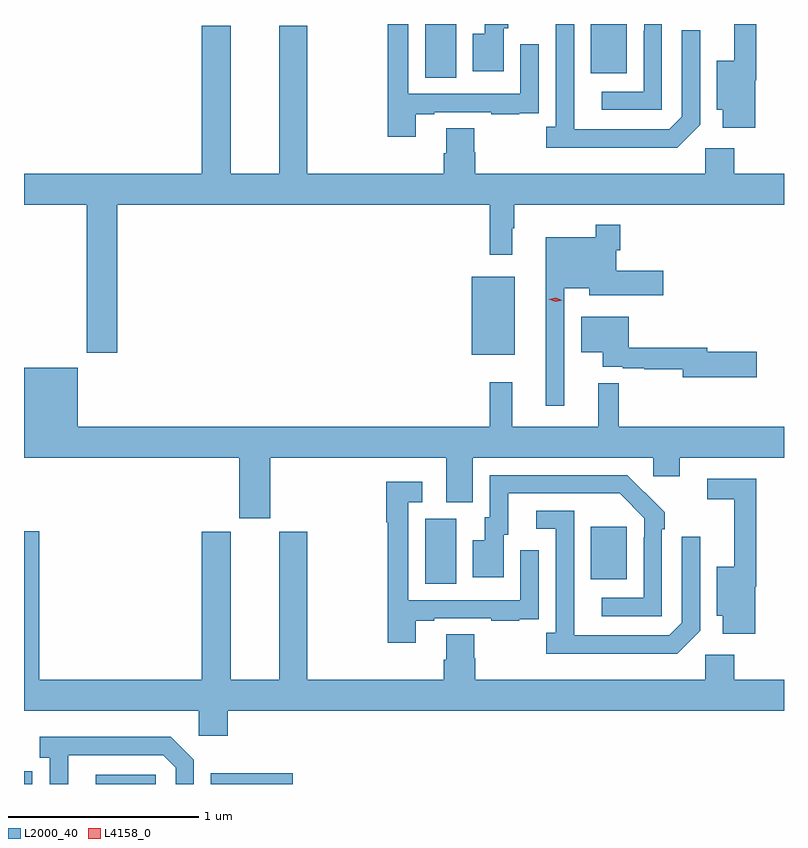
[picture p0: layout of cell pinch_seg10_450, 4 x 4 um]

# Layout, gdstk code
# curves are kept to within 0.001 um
import gdstk
lib = gdstk.Library(unit=1e-6, precision=1e-09)
def R(c, l, rs):  # rectangles x0, y0, x1, y1
    for r in rs: c.add(gdstk.rectangle(r[:2], r[2:], *l))
def P(c, l, *ps):  # polygons
    for p in ps: c.add(gdstk.Polygon(p, *l))
L2000_40 = (2000, 40)
L4158_0 = (4158, 0)

pinch_seg10_450 = lib.new_cell('pinch_seg10_450')
R(pinch_seg10_450, L2000_40, [(315.723,1310.587,315.767,1310.655), (316.101,1310.587,316.416,1310.637), (316.706,1310.587,317.137,1310.643), (317.834,1311.64,317.998,1311.984), (318.707,1311.665,318.895,1311.94), (318.08,1312.847,318.307,1313.257), (317.834,1314.304,317.998,1314.587), (318.707,1314.329,318.895,1314.587)])
P(pinch_seg10_450, L2000_40, [(318.247,1314.564),(318.271,1314.564),(318.271,1314.587),(318.149,1314.587),(318.149,1314.535),(318.086,1314.535),(318.086,1314.339),(318.247,1314.339)],
  [(319.08,1314.587),(318.987,1314.587),(318.987,1314.551),(318.984,1314.551),(318.984,1314.231),(318.765,1314.231),(318.765,1314.135),(319.08,1314.135)],
  [(319.281,1314.057),(319.281,1314.553),(319.185,1314.553),(319.185,1314.099),(319.119,1314.033),(318.619,1314.033),(318.618,1314.587),(318.522,1314.587),(318.522,1314.046),(318.471,1314.046),(318.471,1313.936),(319.16,1313.936)],
  [(317.785,1314.111),(317.881,1314.111),(317.881,1314.123),(318.181,1314.123),(318.181,1314.111),(318.329,1314.111),(318.329,1314.117),(318.431,1314.117),(318.431,1314.226),(318.432,1314.226),(318.432,1314.481),(318.336,1314.481),(318.336,1314.219),(317.745,1314.219),(317.745,1314.587),(317.637,1314.587),(317.637,1313.994),(317.785,1313.994)],
  [(319.571,1314.29),(319.577,1314.29),(319.577,1314.587),(319.46,1314.587),(319.46,1314.394),(319.37,1314.394),(319.37,1314.137),(319.4,1314.137),(319.4,1314.042),(319.571,1314.042)],
  [(316.214,1313.636),(318.175,1313.636),(318.175,1313.373),(318.292,1313.373),(318.292,1313.513),(318.304,1313.513),(318.304,1313.636),(319.723,1313.636),(319.723,1313.8),(319.46,1313.8),(319.46,1313.932),(319.308,1313.932),(319.308,1313.8),(318.098,1313.8),(318.098,1313.913),(318.093,1313.913),(318.093,1314.038),(317.945,1314.038),(317.945,1313.906),(317.933,1313.906),(317.933,1313.8),(317.214,1313.8),(317.214,1314.579),(317.066,1314.579),(317.066,1313.8),(316.81,1313.8),(316.81,1314.579),(316.658,1314.579),(316.658,1313.8),(315.723,1313.8),(315.723,1313.636),(316.054,1313.636),(316.054,1312.857),(316.214,1312.857)],
  [(318.567,1313.195),(318.698,1313.195),(318.698,1313.159),(319.087,1313.159),(319.087,1313.289),(318.841,1313.289),(318.841,1313.397),(318.86,1313.397),(318.86,1313.53),(318.732,1313.53),(318.732,1313.464),(318.47,1313.464),(318.47,1312.578),(318.567,1312.578)],
  [(319.579,1312.862),(319.318,1312.862),(319.318,1312.883),(318.905,1312.883),(318.905,1313.047),(318.656,1313.047),(318.656,1312.859),(318.77,1312.859),(318.77,1312.782),(318.874,1312.782),(318.874,1312.776),(318.988,1312.776),(318.988,1312.77),(319.19,1312.77),(319.19,1312.727),(319.579,1312.727)],
  [(317.02,1312.304),(317.945,1312.304),(317.945,1312.069),(318.085,1312.069),(318.085,1312.304),(319.035,1312.304),(319.035,1312.206),(319.174,1312.206),(319.174,1312.304),(319.723,1312.304),(319.723,1312.468),(318.854,1312.468),(318.854,1312.697),(318.746,1312.697),(318.746,1312.468),(318.293,1312.468),(318.293,1312.702),(318.175,1312.702),(318.175,1312.468),(316.006,1312.468),(316.006,1312.777),(315.723,1312.777),(315.723,1312.304),(316.856,1312.304),(316.856,1311.987),(317.02,1311.987)],
  [(319.08,1311.929),(319.095,1311.929),(319.095,1312.017),(318.898,1312.212),(318.174,1312.212),(318.174,1311.99),(318.149,1311.99),(318.149,1311.871),(318.086,1311.871),(318.086,1311.675),(318.247,1311.675),(318.247,1311.9),(318.271,1311.9),(318.271,1312.116),(318.859,1312.116),(318.987,1311.987),(318.987,1311.887),(318.984,1311.887),(318.984,1311.567),(318.765,1311.567),(318.765,1311.471),(319.08,1311.471)],
  [(319.571,1311.626),(319.577,1311.626),(319.577,1312.194),(319.32,1312.194),(319.32,1312.086),(319.46,1312.086),(319.46,1311.73),(319.37,1311.73),(319.37,1311.473),(319.4,1311.473),(319.4,1311.378),(319.571,1311.378)],
  [(317.785,1311.447),(317.881,1311.447),(317.881,1311.459),(318.181,1311.459),(318.181,1311.447),(318.329,1311.447),(318.329,1311.453),(318.431,1311.453),(318.431,1311.562),(318.432,1311.562),(318.432,1311.817),(318.336,1311.817),(318.336,1311.555),(317.745,1311.555),(317.745,1312.071),(317.818,1312.071),(317.818,1312.177),(317.629,1312.177),(317.629,1311.964),(317.637,1311.964),(317.637,1311.33),(317.785,1311.33)],
  [(319.281,1311.393),(319.281,1311.889),(319.185,1311.889),(319.185,1311.435),(319.119,1311.369),(318.619,1311.369),(318.618,1312.026),(318.42,1312.026),(318.42,1311.93),(318.522,1311.93),(318.522,1311.382),(318.471,1311.382),(318.471,1311.272),(319.16,1311.272)],
  [(316.796,1310.972),(319.723,1310.972),(319.723,1311.136),(319.46,1311.136),(319.46,1311.268),(319.308,1311.268),(319.308,1311.136),(318.098,1311.136),(318.098,1311.249),(318.093,1311.249),(318.093,1311.374),(317.945,1311.374),(317.945,1311.242),(317.933,1311.242),(317.933,1311.136),(317.214,1311.136),(317.214,1311.915),(317.066,1311.915),(317.066,1311.136),(316.81,1311.136),(316.81,1311.915),(316.658,1311.915),(316.658,1311.136),(315.803,1311.136),(315.803,1311.916),(315.723,1311.916),(315.723,1310.972),(316.644,1310.972),(316.644,1310.841),(316.796,1310.841)],
  [(315.955,1310.739),(316.455,1310.739),(316.521,1310.673),(316.521,1310.587),(316.617,1310.587),(316.617,1310.715),(316.496,1310.836),(315.807,1310.836),(315.807,1310.726),(315.858,1310.726),(315.858,1310.587),(315.955,1310.587)])
P(pinch_seg10_450, L4158_0, [(318.521,1313.126),(318.486,1313.138),(318.486,1313.139),(318.486,1313.139),(318.522,1313.146),(318.556,1313.134),(318.557,1313.134),(318.556,1313.134)])

lib.write_gds('pinch_seg10_450.gds')
